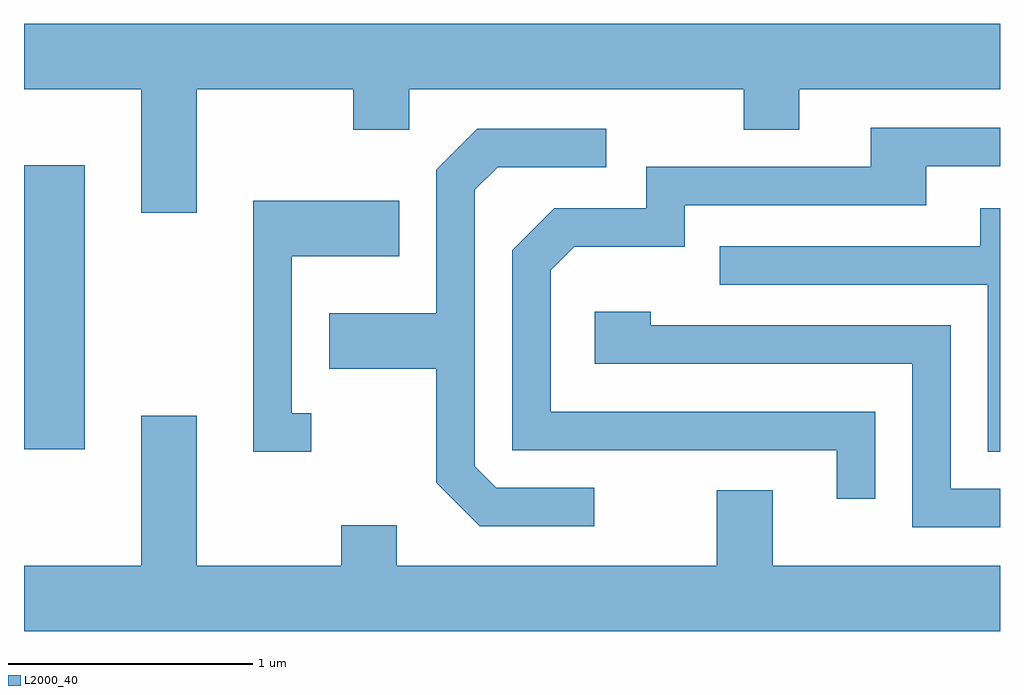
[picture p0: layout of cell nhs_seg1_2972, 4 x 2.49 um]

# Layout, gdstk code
import gdstk
lib = gdstk.Library(unit=1e-6, precision=1e-09)
def R(c, l, rs):  # rectangles x0, y0, x1, y1
    for r in rs: c.add(gdstk.rectangle(r[:2], r[2:], *l))
def P(c, l, *ps):  # polygons
    for p in ps: c.add(gdstk.Polygon(p, *l))
L2000_40 = (2000, 40)

nhs_seg1_2972 = lib.new_cell('nhs_seg1_2972')
R(nhs_seg1_2972, L2000_40, [(275.611,875.901,275.859,877.064)])
P(nhs_seg1_2972, L2000_40, [(276.319,877.376),(276.961,877.376),(276.961,877.211),(277.189,877.211),(277.189,877.376),(278.561,877.376),(278.561,877.211),(278.789,877.211),(278.789,877.376),(279.611,877.376),(279.611,877.644),(275.611,877.644),(275.611,877.376),(276.091,877.376),(276.091,876.871),(276.319,876.871)],
  [(279.099,876.054),(277.769,876.054),(277.769,876.634),(277.867,876.731),(278.319,876.731),(278.319,876.901),(279.309,876.901),(279.309,877.061),(279.611,877.061),(279.611,877.219),(279.081,877.219),(279.081,877.059),(278.161,877.059),(278.161,876.889),(277.784,876.889),(277.611,876.717),(277.611,875.896),(278.941,875.896),(278.941,875.698),(279.099,875.698)],
  [(277.948,875.744),(277.547,875.744),(277.459,875.832),(277.459,876.964),(277.552,877.056),(277.998,877.056),(277.998,877.214),(277.469,877.214),(277.301,877.047),(277.301,876.459),(276.861,876.459),(276.861,876.231),(277.301,876.231),(277.301,875.764),(277.479,875.586),(277.948,875.586)],
  [(276.788,876.049),(276.709,876.049),(276.709,876.691),(277.149,876.691),(277.149,876.919),(276.551,876.919),(276.551,875.891),(276.788,875.891)],
  [(279.611,876.889),(279.531,876.889),(279.531,876.734),(278.463,876.734),(278.463,876.576),(279.561,876.576),(279.561,875.891),(279.611,875.891)],
  [(279.611,875.739),(279.409,875.739),(279.409,876.409),(278.179,876.409),(278.179,876.464),(277.951,876.464),(277.951,876.251),(279.251,876.251),(279.251,875.581),(279.611,875.581)],
  [(279.611,875.424),(278.679,875.424),(278.679,875.734),(278.451,875.734),(278.451,875.424),(277.139,875.424),(277.139,875.589),(276.911,875.589),(276.911,875.424),(276.319,875.424),(276.319,876.039),(276.091,876.039),(276.091,875.424),(275.611,875.424),(275.611,875.156),(279.611,875.156)])

lib.write_gds('nhs_seg1_2972.gds')
